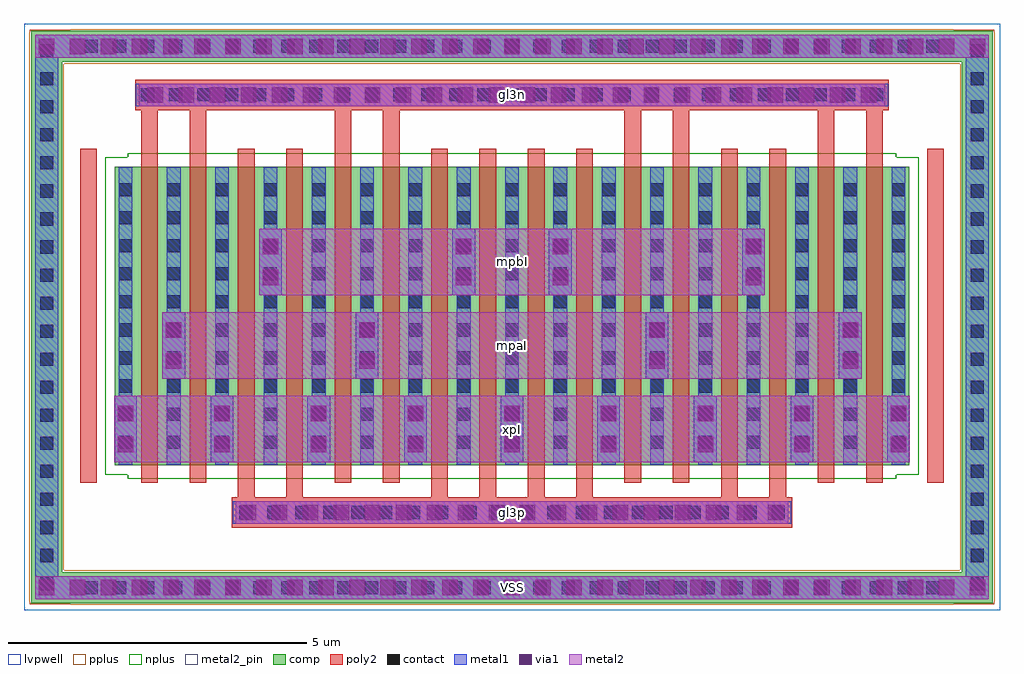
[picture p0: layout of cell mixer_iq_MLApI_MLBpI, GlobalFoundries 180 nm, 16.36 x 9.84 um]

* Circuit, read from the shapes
.subckt mixer_iq_MLApI_MLBpI VSS gl3n gl3p mpaI mpbI xpI
XM1 mpaI gl3n xpI VSS nfet_03v3 w=5u l=0.28u m=8
XM2 mpbI gl3p xpI VSS nfet_03v3 w=5u l=0.28u m=8
.ends

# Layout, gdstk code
import gdstk
lib = gdstk.Library(unit=1e-6, precision=1e-09)
def R(c, l, rs):  # rectangles x0, y0, x1, y1
    for r in rs: c.add(gdstk.rectangle(r[:2], r[2:], *l))
def A(c, l, x, y, w, h, nx, ny, dx, dy):  # array of equal rectangles
    R(c, l, [(x+i*dx, y+j*dy, x+i*dx+w, y+j*dy+h) for i in range(nx) for j in range(ny)])
comp = (22, 0)
poly2 = (30, 0)
pplus = (31, 0)
nplus = (32, 0)
contact = (33, 0)
metal1 = (34, 0)
via1 = (35, 0)
metal2 = (36, 0)
metal2_pin = (36, 10)
lvpwell = (204, 0)

mixer_iq_mlapi_mlbpi = lib.new_cell('mixer_iq_MLApI_MLBpI')
R(mixer_iq_mlapi_mlbpi, comp, [(-1.4,-0.82,14.72,-0.3), (-1.4,-0.3,-0.88,8.255), (14.2,-0.3,14.72,8.255), (0,1.495,13.32,6.495), (-1.4,8.255,14.72,8.775)])
A(mixer_iq_mlapi_mlbpi, poly2, 5.305, 0.955, 0.28, 5.84, 4, 1, 0.81, 0)
R(mixer_iq_mlapi_mlbpi, poly2, [(1.965,0.445,11.355,0.955), (2.065,0.955,2.345,6.795), (2.875,0.955,3.155,6.795), (10.165,0.955,10.445,6.795), (10.975,0.955,11.255,6.795), (-0.58,1.195,-0.3,6.795), (0.445,1.195,0.725,7.445), (1.255,1.195,1.535,7.445), (3.685,1.195,3.965,7.445), (4.495,1.195,4.775,7.445), (8.545,1.195,8.825,7.445), (9.355,1.195,9.635,7.445), (11.785,1.195,12.065,7.445), (12.595,1.195,12.875,7.445), (13.62,1.195,13.9,6.795), (0.345,7.445,12.975,7.955)])
R(mixer_iq_mlapi_mlbpi, pplus, [(-0.74,-0.85,14.06,-0.84), (-1.42,-0.84,14.74,-0.795), (-1.43,-0.795,14.75,-0.27), (-1.43,-0.27,-0.85,8.225), (14.17,-0.27,14.75,8.225), (-1.43,8.225,14.75,8.75), (-1.42,8.75,14.74,8.795), (-0.74,8.795,14.06,8.805)])
R(mixer_iq_mlapi_mlbpi, nplus, [(0.215,1.265,13.105,1.335), (-0.16,1.335,13.48,6.655), (0.215,6.655,13.105,6.725)])
A(mixer_iq_mlapi_mlbpi, contact, -0.5, -0.67, 0.22, 0.22, 31, 2, 0.47, 9.075)
A(mixer_iq_mlapi_mlbpi, contact, -1.25, -0.6, 0.22, 0.22, 1, 20, 0, 0.47)
A(mixer_iq_mlapi_mlbpi, contact, 14.35, -0.6, 0.22, 0.22, 1, 20, 0, 0.47)
A(mixer_iq_mlapi_mlbpi, contact, 2.085, 0.59, 0.22, 0.22, 20, 1, 0.47, 0)
A(mixer_iq_mlapi_mlbpi, contact, 0.07, 1.77, 0.22, 0.22, 17, 10, 0.81, 0.47)
A(mixer_iq_mlapi_mlbpi, contact, 0.44, 7.59, 0.22, 0.22, 27, 1, 0.47, 0)
A(mixer_iq_mlapi_mlbpi, metal1, 0.065, 1.505, 0.23, 0.035, 9, 1, 1.62, 0)
A(mixer_iq_mlapi_mlbpi, metal1, -0.01, 1.54, 0.38, 1.12, 9, 1, 1.62, 0)
A(mixer_iq_mlapi_mlbpi, metal1, 0.065, 2.66, 0.23, 3.825, 9, 1, 1.62, 0)
R(mixer_iq_mlapi_mlbpi, metal1, [(-1.335,-0.755,14.655,-0.365), (-1.335,-0.365,-0.945,8.32), (14.265,-0.365,14.655,8.32), (1.975,0.51,11.345,0.89), (0.875,1.505,1.105,2.94), (2.495,1.505,2.725,4.34), (4.115,1.505,4.345,2.94), (5.735,1.505,5.965,4.34), (7.355,1.505,7.585,4.34), (8.975,1.505,9.205,2.94), (10.595,1.505,10.825,4.34), (12.215,1.505,12.445,2.94), (0.8,2.94,1.18,4.06), (4.04,2.94,4.42,4.06), (8.9,2.94,9.28,4.06), (12.14,2.94,12.52,4.06), (0.875,4.06,1.105,6.485), (4.115,4.06,4.345,6.485), (8.975,4.06,9.205,6.485), (12.215,4.06,12.445,6.485), (2.42,4.34,2.8,5.46), (5.66,4.34,6.04,5.46), (7.28,4.34,7.66,5.46), (10.52,4.34,10.9,5.46), (2.495,5.46,2.725,6.485), (5.735,5.46,5.965,6.485), (7.355,5.46,7.585,6.485), (10.595,5.46,10.825,6.485), (0.355,7.51,12.965,7.89), (-1.335,8.32,14.655,8.71)])
A(mixer_iq_mlapi_mlbpi, via1, -1.27, -0.69, 0.26, 0.26, 31, 2, 0.52, 9.075)
A(mixer_iq_mlapi_mlbpi, via1, 2.11, 0.57, 0.26, 0.26, 18, 1, 0.52, 0)
A(mixer_iq_mlapi_mlbpi, via1, 0.05, 1.71, 0.26, 0.26, 9, 2, 1.62, 0.52)
A(mixer_iq_mlapi_mlbpi, via1, 0.55, 7.57, 0.26, 0.26, 24, 1, 0.52, 0)
R(mixer_iq_mlapi_mlbpi, via1, [(0.86,3.11,1.12,3.37), (4.1,3.11,4.36,3.37), (8.96,3.11,9.22,3.37), (12.2,3.11,12.46,3.37), (0.86,3.63,1.12,3.89), (4.1,3.63,4.36,3.89), (8.96,3.63,9.22,3.89), (12.2,3.63,12.46,3.89), (2.48,4.51,2.74,4.77), (5.72,4.51,5.98,4.77), (7.34,4.51,7.6,4.77), (10.58,4.51,10.84,4.77), (2.48,5.03,2.74,5.29), (5.72,5.03,5.98,5.29), (7.34,5.03,7.6,5.29), (10.58,5.03,10.84,5.29)])
R(mixer_iq_mlapi_mlbpi, metal2, [(-1.335,-0.755,14.655,-0.365), (2.03,0.51,11.29,0.89), (-0.01,1.54,13.33,2.66), (0.8,2.94,12.52,4.06), (2.42,4.34,10.9,5.46), (0.41,7.51,12.91,7.89), (-1.335,8.32,14.655,8.71)])
R(mixer_iq_mlapi_mlbpi, metal2_pin, [(-1.335,-0.755,14.655,-0.365), (2.03,0.51,11.29,0.89), (-0.01,1.54,13.33,2.66), (0.8,2.94,12.52,4.06), (2.42,4.34,10.9,5.46), (0.41,7.51,12.91,7.89)])
R(mixer_iq_mlapi_mlbpi, lvpwell, [(-1.52,-0.94,14.84,8.895)])
mixer_iq_mlapi_mlbpi.add(gdstk.Label('xpI', (6.66,2.1), layer=36, texttype=10))
mixer_iq_mlapi_mlbpi.add(gdstk.Label('mpaI', (6.66,3.5), layer=36, texttype=10))
mixer_iq_mlapi_mlbpi.add(gdstk.Label('mpbI', (6.66,4.9), layer=36, texttype=10))
mixer_iq_mlapi_mlbpi.add(gdstk.Label('gl3n', (6.66,7.7), layer=36, texttype=10))
mixer_iq_mlapi_mlbpi.add(gdstk.Label('gl3p', (6.66,0.7), layer=36, texttype=10))
mixer_iq_mlapi_mlbpi.add(gdstk.Label('VSS', (6.66,-0.56), layer=36, texttype=10))

lib.write_gds('mixer_iq_MLApI_MLBpI.gds')
